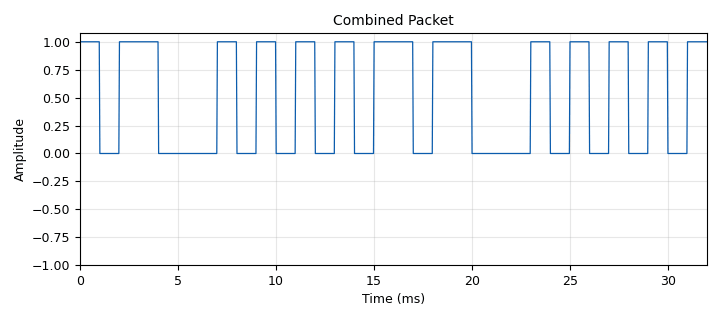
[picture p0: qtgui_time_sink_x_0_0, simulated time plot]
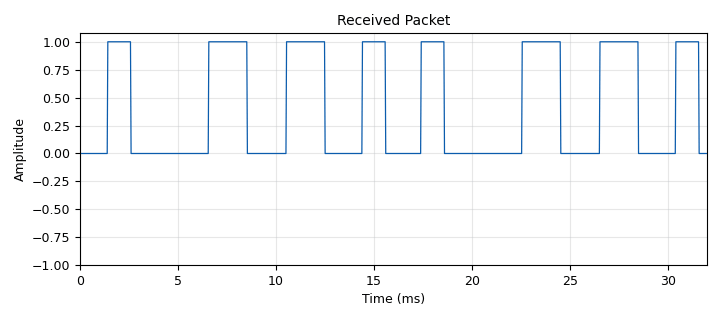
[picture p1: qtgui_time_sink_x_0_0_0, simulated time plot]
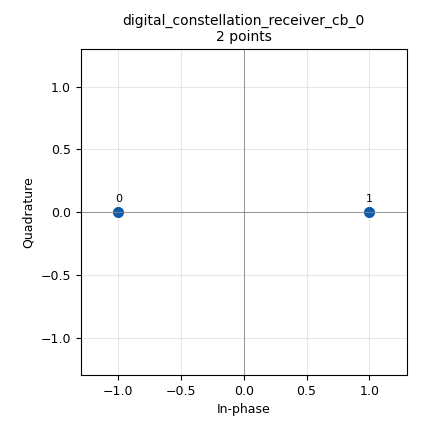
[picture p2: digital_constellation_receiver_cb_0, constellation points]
options:
  parameters:
    author: John Sylvia
    generate_options: qt_gui
    id: preamble_test
    output_language: python
    title: Preamble Testing
  states: {}

blocks:
- name: bpsk_object
  id: variable_constellation
  parameters:
    const_points: '[-1, 1]'
    precision: '8'
    rot_sym: '2'
    sym_map: '[0, 1]'
    type: bpsk
  states: {}
- name: order
  id: variable
  parameters:
    value: '2'
  states: {}
- name: payload_len
  id: variable
  parameters:
    value: '8'
  states: {}
- name: payload_tag
  id: variable_tag_object
  parameters:
    key: pmt.intern("payload_len")
    offset: '0'
    src: pmt.intern("payload_len")
    value: pmt.intern(str(payload_len))
  states: {}
- name: preamble_len
  id: variable
  parameters:
    value: '8'
  states: {}
- name: preamble_tag
  id: variable_tag_object
  parameters:
    key: pmt.intern("preamble_len")
    offset: '0'
    src: pmt.intern("preamble_len")
    value: pmt.intern(str(preamble_len))
  states: {}
- name: qpsk_object
  id: variable_constellation
  parameters:
    precision: '8'
    type: qpsk
  states: {}
- name: samp_rate
  id: variable
  parameters:
    value: '32000'
  states: {}
- name: sps
  id: variable
  parameters:
    value: '32'
  states: {}
- name: blocks_char_to_float_0
  id: blocks_char_to_float
  parameters:
    scale: '1'
  states: {}
- name: blocks_char_to_float_0_0
  id: blocks_char_to_float
  parameters:
    scale: '1'
  states: {}
- name: blocks_repeat_0
  id: blocks_repeat
  parameters:
    interp: sps
    type: byte
  states: {}
- name: blocks_stream_mux_0
  id: blocks_stream_mux
  parameters:
    lengths: (preamble_len, payload_len)
    type: byte
  states: {}
- name: blocks_throttle2_0_0
  id: blocks_throttle2
  parameters:
    samples_per_second: samp_rate
    type: float
  states: {}
- name: blocks_throttle2_0_0_0
  id: blocks_throttle2
  parameters:
    samples_per_second: samp_rate
    type: float
  states: {}
- name: blocks_unpacked_to_packed_xx_0
  id: blocks_unpacked_to_packed_xx
  parameters:
    bits_per_chunk: '1'
    endianness: gr.GR_MSB_FIRST
    type: byte
  states: {}
- name: blocks_vector_source_x_0
  id: blocks_vector_source_x
  parameters:
    repeat: 'True'
    tags: '[payload_tag]'
    type: byte
    vector: np.random.randint(0, order, size=payload_len).tolist()
  states: {state: disabled}
- name: blocks_vector_source_x_0_0
  id: blocks_vector_source_x
  parameters:
    repeat: 'True'
    tags: '[preamble_tag]'
    type: byte
    vector: (0, 1, 0, 1, 0, 1, 0, 1)
  states: {}
- name: blocks_vector_source_x_0_1
  id: blocks_vector_source_x
  parameters:
    repeat: 'True'
    tags: '[payload_tag]'
    type: byte
    vector: '[0, 1, 1, 0, 1, 1, 0, 0]'
  states: {}
- name: digital_constellation_modulator_0
  id: digital_constellation_modulator
  parameters:
    constellation: bpsk_object
    differential: 'True'
    excess_bw: '0.35'
    samples_per_symbol: sps
  states: {}
- name: digital_constellation_receiver_cb_0
  id: digital_constellation_receiver_cb
  parameters:
    constellation: bpsk_object
    fmax: '0.01'
    fmin: '-0.01'
    loop_bw: '0.1'
  states: {}
- name: import_0
  id: import
  parameters:
    imports: import numpy as np
  states: {}
- name: import_0_0
  id: import
  parameters:
    imports: import math
  states: {}
- name: qtgui_time_sink_x_0_0
  id: qtgui_time_sink_x
  parameters:
    gui_hint: '[0,0]'
    name: '"Combined Packet"'
    size: '1024'
    srate: samp_rate
    type: float
  states: {}
- name: qtgui_time_sink_x_0_0_0
  id: qtgui_time_sink_x
  parameters:
    entags: 'False'
    gui_hint: '[1, 0]'
    name: '"Received Packet"'
    size: '1024'
    srate: samp_rate
    type: float
  states: {}

connections:
- [blocks_char_to_float_0, '0', blocks_throttle2_0_0, '0']
- [blocks_char_to_float_0_0, '0', blocks_throttle2_0_0_0, '0']
- [blocks_repeat_0, '0', blocks_char_to_float_0, '0']
- [blocks_stream_mux_0, '0', blocks_repeat_0, '0']
- [blocks_stream_mux_0, '0', blocks_unpacked_to_packed_xx_0, '0']
- [blocks_throttle2_0_0, '0', qtgui_time_sink_x_0_0, '0']
- [blocks_throttle2_0_0_0, '0', qtgui_time_sink_x_0_0_0, '0']
- [blocks_unpacked_to_packed_xx_0, '0', digital_constellation_modulator_0, '0']
- [blocks_vector_source_x_0, '0', blocks_stream_mux_0, '1']
- [blocks_vector_source_x_0_0, '0', blocks_stream_mux_0, '0']
- [blocks_vector_source_x_0_1, '0', blocks_stream_mux_0, '1']
- [digital_constellation_modulator_0, '0', digital_constellation_receiver_cb_0, '0']
- [digital_constellation_receiver_cb_0, '0', blocks_char_to_float_0_0, '0']

metadata:
  file_format: 1
  grc_version: 3.10.9.2
